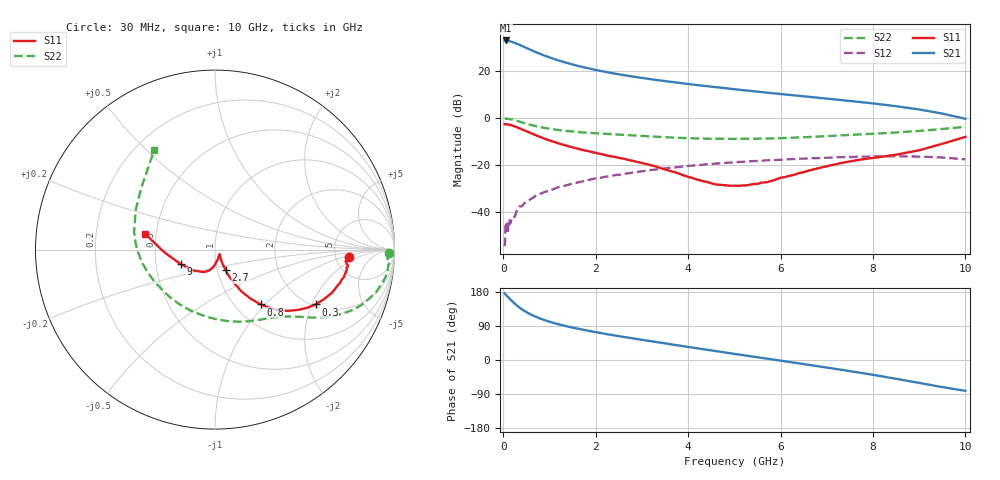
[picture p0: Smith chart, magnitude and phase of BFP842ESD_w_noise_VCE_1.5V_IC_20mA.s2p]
! (c) 2012  Infineon Technologies AG, Munich
! Infineon Technologies  Discrete & RF Semiconductors
! BFP842ESD
! VCE =  1.5 V,  IC =  20 mA
! Common Emitter S-Parameters:  May 2012
# GHz  S  MA  R  50
!  f  S11  S21  S12  S22
! GHz  MAG  ANG  MAG  ANG  MAG  ANG  MAG  ANG
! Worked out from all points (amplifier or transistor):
!   99 points, 30 MHz to 10 GHz, reference 50 ohm
!   highest |S21| = 33.0 dB at 60 MHz (marker M1)
!   |S21| within 3 dB of that: start of sweep to 481.7 MHz
!   unconditionally stable (mu >= 1): 2.065 GHz to end of sweep
!   at 350 MHz: K = 0.48, MSG = 34.4 dB, |S12| = -37.5 dB
!   at 3.5 GHz: K = 1.09, MAG = 16.8 dB, |S12| = -21.4 dB
!   at 10 GHz: K = 1.89, MAG = 3.2 dB, |S12| = -17.5 dB
!   lowest NFmin = 0.81 dB at 450 MHz
!   S11 on the Smith chart (normalised r, x): 30 MHz: 6.74, -1.20; 300 MHz: 2.07, -2.13; 800 MHz: 1.30, -0.94; 2.7 GHz: 1.10, -0.26; 9 GHz: 0.67, -0.11; 10 GHz: 0.43, +0.09
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0.03  0.7486 -3.0  44.37 176.1  0.0019 105.7  0.9682 -1.0
0.05  0.7303 -5.1  44.02 173.0  0.0052 -120.5  0.9604 -2.9
0.06  0.7473 -7.1  44.69 171.7  0.005 80.0  0.9795 -4.1
0.09  0.7399 -9.7  43.48 168.2  0.005 97.8  0.97 -6.5
0.11  0.7343 -12.0  43.84 165.2  0.0052 89.4  0.9643 -8.0
0.2  0.6949 -20.2  41.29 154.4  0.008 76.5  0.9291 -14.8
0.25  0.6667 -24.5  39.84 148.6  0.008 71.7  0.8994 -17.8
0.3  0.6382 -28.6  37.91 143.4  0.0114 75.3  0.873 -20.7
0.4  0.5796 -35.2  34.37 134.1  0.0133 69.5  0.8128 -25.4
0.5  0.5279 -40.3  31.07 126.5  0.0169 69.3  0.7624 -29.1
0.6  0.4787 -44.4  28 120.0  0.0191 68.6  0.715 -31.8
0.8  0.3975 -50.2  23.13 109.3  0.0246 66.7  0.6449 -35.9
1  0.3364 -54.1  19.53 101.1  0.0287 64.5  0.5935 -39.1
1.2  0.2899 -56.7  16.77 94.2  0.0342 61.4  0.5581 -41.9
1.7  0.2124 -60.0  12.31 80.6  0.0448 57.5  0.4983 -49.2
2.7  0.1295 -62.0  7.925 59.1  0.0671 47.1  0.4348 -66.8
3.4  0.0871 -61.8  6.304 45.8  0.0829 38.7  0.3979 -82.8
5.1  0.0364 -47.9  4.015 14.4  0.117 15.6  0.362 -127.5
6.7  0.0806 -88.8  2.781 -14.4  0.1406 -7.6  0.4007 -164.3
8.5  0.1668 -136.0  1.793 -49.6  0.1542 -38.5  0.4947 153.1
9  0.2075 -156.8  1.528 -60.5  0.1523 -48.6  0.5342 140.4
10  0.3994 167.2  0.968 -81.3  0.1331 -69.9  0.6516 121.2
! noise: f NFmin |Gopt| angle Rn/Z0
0.45  0.81  0.05  -152  0.09
0.9  0.81  0.07  -145  0.09
1.5  0.82  0.09  -141  0.08
1.9  0.82  0.11  -135  0.08
2.4  0.83  0.13  -132  0.08
3.5  0.88  0.16  -118  0.09
4  0.91  0.17  -115  0.1
5  0.98  0.18  -104  0.11
5.5  1.09  0.19  -101  0.12
6  1.19  0.2  -98  0.13
